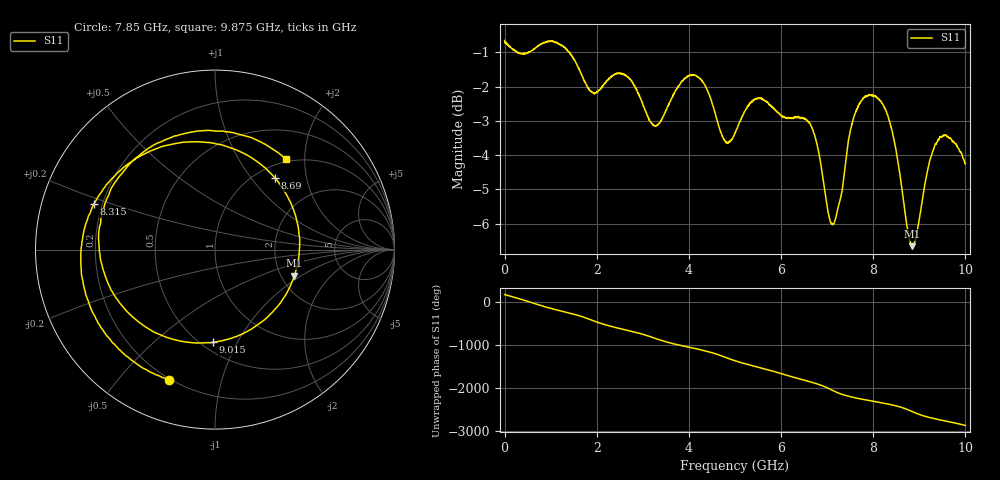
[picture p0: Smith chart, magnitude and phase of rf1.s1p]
!Keysight Technologies,M9375A,MY54321142,A.14.10.03
!Date: Thursday, September 11, 2025 11:46:26
!Correction: S11(C  2-Port  )
!S1P File: Measurement: :
# Hz S  dB  R 50
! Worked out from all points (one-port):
!   2001 points, 1 MHz to 10 GHz, reference 50 ohm
!   lowest |S11| = -6.7 dB at 8.845 GHz (marker M1), VSWR 2.74, Z = 118 - j43.7 ohm
!   |S11| at or under -10 dB: nowhere
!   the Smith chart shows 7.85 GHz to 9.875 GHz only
!   S11 on the Smith chart (normalised r, x): 7.85 GHz: 0.19, -0.69; 8.315 GHz: 0.17, +0.18; 8.69 GHz: 1.21, +1.32; 9.015 GHz: 0.57, -0.80; 9.875 GHz: 0.95, +1.62
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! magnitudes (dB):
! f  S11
! 1 MHz  -0.7
! 376 MHz  -1.0
! 1.251 GHz  -0.8
! 1.911 GHz  -2.2
! 2.501 GHz  -1.6
! 2.781 GHz  -1.9
! 3.256 GHz  -3.1
! 3.751 GHz  -2.0
! 4.211 GHz  -1.7
! 4.771 GHz  -3.6
! 5 GHz  -3.3
! 5.475 GHz  -2.3
! 6.25 GHz  -2.9
! 6.685 GHz  -3.3
! 7.11 GHz  -6.0
! 7.295 GHz  -5.2
! 7.5 GHz  -3.3
! 7.85 GHz  -2.3
! 8.315 GHz  -2.8
! 8.49 GHz  -3.8
! 8.69 GHz  -5.7
! 8.75 GHz  -6.2
! 8.845 GHz  -6.7
! 9.015 GHz  -5.7
! 9.21 GHz  -4.3
! 9.395 GHz  -3.6
! 9.875 GHz  -3.9
! 10 GHz  -4.3
